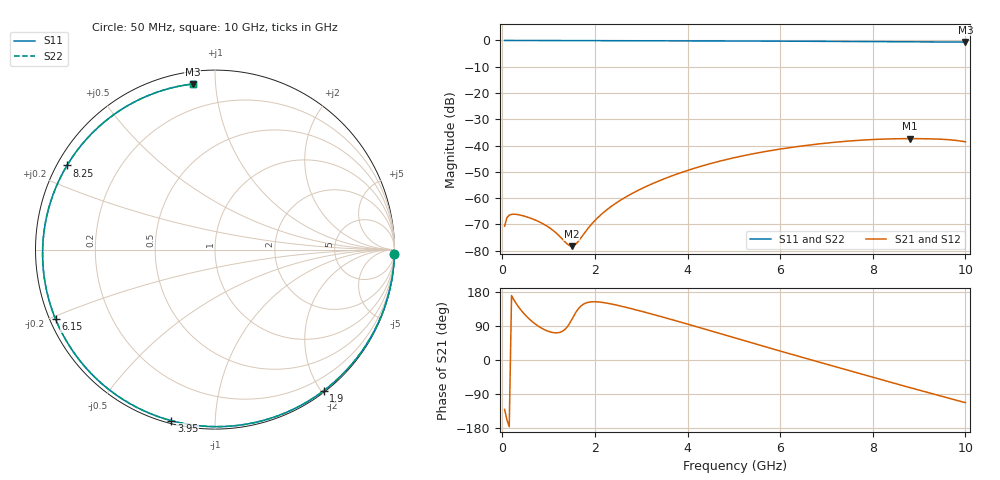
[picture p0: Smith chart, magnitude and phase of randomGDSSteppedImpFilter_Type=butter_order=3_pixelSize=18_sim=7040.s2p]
! freq	dB(S11)	phase(S11)	dB(S12)	phase(S12)
!  dB(S21)	phase(S21)	dB(S22)	phase(S22)
!S-par simulation data
#  GHz  S  DB  R 50
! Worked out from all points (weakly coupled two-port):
!   200 points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, 50 MHz to 10 GHz, reference 50 ohm
!   highest |S21| = -37.36 dB at 8.8 GHz (marker M1); lowest = -78.3 dB at 1.5 GHz (marker M2)
!   lowest |S11| = -0.6 dB at 10 GHz (marker M3), VSWR 27.91, Z = 3.16 + j43.6 ohm
!   |S11| at or under -10 dB: nowhere
!   |S22| runs from -0.6 to 0.0 dB; largest |S21 - S12| = 0
!   S11 on the Smith chart (normalised r, x): 50 MHz: 0, -81; 1.9 GHz: 0.02, -2.03; 3.95 GHz: 0.01, -0.78; 6.15 GHz: 0.02, -0.21; 8.25 GHz: 0.03, +0.26; 10 GHz: 0.06, +0.87
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0.05  -0.00 -1.4  -70.67 -130.6  -70.67 -130.6  -0.00 -1.4
0.1  -0.00 -2.8  -67.42 -157.8  -67.42 -157.8  -0.00 -2.8
0.15  -0.00 -4.2  -66.49 -176.0  -66.49 -176.0  -0.00 -4.2
0.5  -0.01 -14.1  -66.98 118.2  -66.98 118.2  -0.01 -14.1
0.95  -0.03 -26.6  -70.49 77.8  -70.49 77.8  -0.03 -26.6
1.5  -0.05 -41.7  -78.29 106.7  -78.29 106.7  -0.05 -41.7
1.6  -0.06 -44.4  -77.30 128.1  -77.30 128.1  -0.06 -44.4
1.75  -0.06 -48.4  -73.86 147.1  -73.86 147.1  -0.06 -48.4
1.9  -0.07 -52.4  -70.47 153.1  -70.47 153.1  -0.07 -52.4
2.15  -0.07 -59.0  -66.01 152.2  -66.01 152.2  -0.07 -59.0
2.5  -0.09 -68.1  -61.38 144.0  -61.38 144.0  -0.09 -68.1
3.4  -0.12 -90.8  -53.33 115.5  -53.33 115.5  -0.12 -90.8
3.95  -0.14 -104.3  -49.76 96.5  -49.76 96.5  -0.14 -104.3
5.05  -0.20 -130.4  -44.46 57.3  -44.46 57.3  -0.20 -130.4
6.15  -0.27 -156.4  -40.94 18.4  -40.94 18.4  -0.27 -156.4
6.7  -0.32 -169.7  -39.65 -0.7  -39.65 -0.7  -0.32 -169.7
7.5  -0.39 170.3  -38.26 -28.3  -38.26 -28.3  -0.39 170.3
8.25  -0.46 150.4  -37.52 -54.2  -37.52 -54.2  -0.46 150.4
8.35  -0.47 147.6  -37.47 -57.6  -37.47 -57.6  -0.47 147.6
8.8  -0.51 134.8  -37.36 -72.8  -37.36 -72.8  -0.51 134.8
9.45  -0.57 115.2  -37.57 -94.4  -37.57 -94.4  -0.57 115.2
10  -0.62 97.7  -38.56 -112.3  -38.56 -112.3  -0.62 97.7
